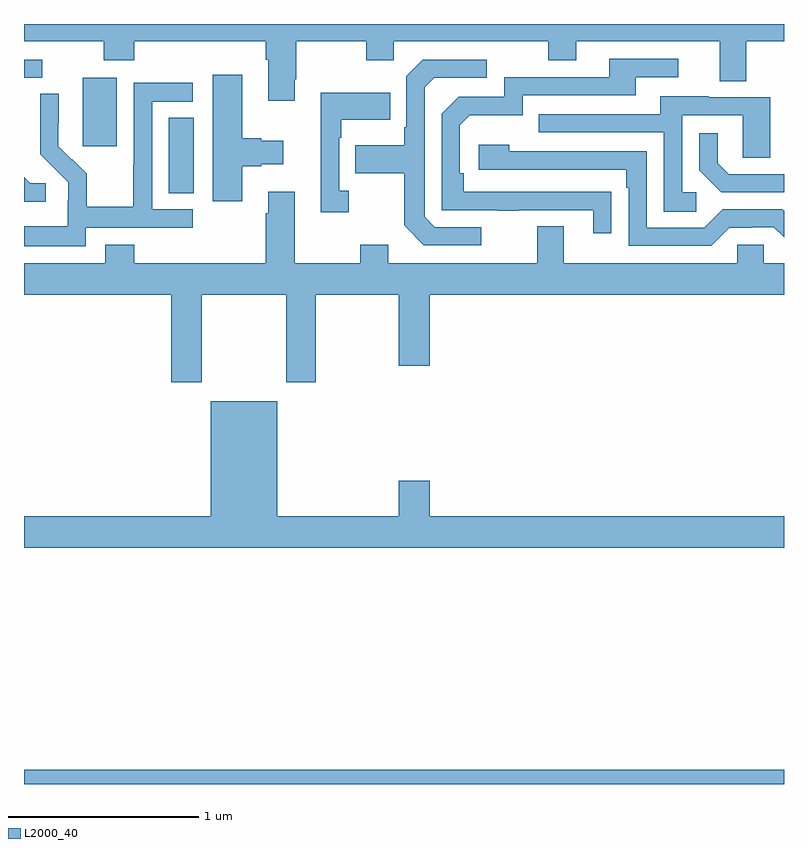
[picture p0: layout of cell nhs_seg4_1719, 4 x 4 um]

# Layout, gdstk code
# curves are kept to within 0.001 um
import gdstk
lib = gdstk.Library(unit=1e-6, precision=1e-09)
def R(c, l, rs):  # rectangles x0, y0, x1, y1
    for r in rs: c.add(gdstk.rectangle(r[:2], r[2:], *l))
def P(c, l, *ps):  # polygons
    for p in ps: c.add(gdstk.Polygon(p, *l))
L2000_40 = (2000, 40)

nhs_seg4_1719 = lib.new_cell('nhs_seg4_1719')
R(nhs_seg4_1719, L2000_40, [(199,804.9,203,804.976), (199.763,808.009,199.894,808.406), (199.31,808.257,199.489,808.618), (199,808.617,199.096,808.713)])
P(nhs_seg4_1719, L2000_40, [(200.425,808.609),(200.433,808.609),(200.433,808.808),(200.8,808.808),(200.8,808.709),(200.946,808.709),(200.946,808.808),(201.76,808.808),(201.76,808.709),(201.907,808.709),(201.907,808.808),(202.661,808.808),(202.661,808.6),(202.801,808.6),(202.801,808.808),(203,808.808),(203,808.9),(199,808.9),(199,808.808),(199.42,808.808),(199.42,808.709),(199.58,808.709),(199.58,808.808),(200.273,808.808),(200.273,808.712),(200.285,808.712),(200.285,808.497),(200.425,808.497)],
  [(202.091,808.016),(201.314,808.017),(201.314,808.114),(201.294,808.114),(201.294,808.368),(201.347,808.421),(201.624,808.421),(201.624,808.524),(202.219,808.524),(202.219,808.62),(202.444,808.62),(202.444,808.716),(202.079,808.716),(202.079,808.62),(201.528,808.62),(201.528,808.518),(201.288,808.518),(201.198,808.428),(201.198,807.921),(201.493,807.921),(201.493,807.916),(201.605,807.916),(201.605,807.921),(201.995,807.921),(201.995,807.798),(202.091,807.798)],
  [(201.406,807.831),(201.162,807.831),(201.108,807.885),(201.108,808.566),(201.159,808.617),(201.436,808.617),(201.436,808.713),(201.099,808.713),(201.012,808.626),(201.012,808.357),(201,808.357),(201,808.261),(200.743,808.261),(200.743,808.114),(201,808.114),(201,807.841),(201.105,807.735),(201.406,807.735)],
  [(200.149,808.151),(200.249,808.151),(200.249,808.163),(200.365,808.163),(200.365,808.285),(200.249,808.285),(200.249,808.298),(200.149,808.298),(200.149,808.633),(199.994,808.633),(199.994,807.966),(200.149,807.966)],
  [(199.326,807.828),(199.888,807.828),(199.888,807.924),(199.674,807.924),(199.674,808.491),(199.888,808.491),(199.888,808.59),(199.578,808.59),(199.578,808.16),(199.576,808.16),(199.576,807.937),(199.331,807.937),(199.331,808.111),(199.254,808.188),(199.251,808.185),(199.181,808.256),(199.182,808.532),(199.086,808.532),(199.086,808.214),(199.232,808.066),(199.232,807.969),(199.23,807.969),(199.23,807.835),(199,807.835),(199,807.731),(199.326,807.731)],
  [(200.71,808.022),(200.658,808.022),(200.658,808.301),(200.671,808.301),(200.671,808.397),(200.927,808.397),(200.927,808.537),(200.561,808.537),(200.561,807.909),(200.71,807.909)],
  [(202.537,808.014),(202.464,808.014),(202.464,808.419),(202.782,808.419),(202.782,808.195),(202.927,808.195),(202.927,808.515),(202.603,808.515),(202.603,808.519),(202.349,808.519),(202.349,808.425),(201.709,808.425),(201.709,808.329),(202.368,808.329),(202.368,807.913),(202.537,807.913)],
  [(203,808.11),(202.708,808.11),(202.651,808.167),(202.651,808.324),(202.554,808.324),(202.554,808.13),(202.67,808.014),(203,808.014)],
  [(202.713,807.828),(202.832,807.828),(202.832,807.831),(202.947,807.831),(203,807.778),(203,807.916),(202.992,807.924),(202.677,807.924),(202.581,807.828),(202.278,807.828),(202.278,808.23),(201.554,808.23),(201.554,808.264),(201.393,808.264),(201.393,808.134),(202.169,808.134),(202.169,808.037),(202.182,808.037),(202.182,807.732),(202.617,807.732)],
  [(199.114,808.062),(199.032,808.062),(199,808.094),(199,807.965),(199.114,807.965)],
  [(202.755,807.738),(202.755,807.64),(201.841,807.64),(201.841,807.835),(201.701,807.835),(201.701,807.64),(200.917,807.64),(200.917,807.739),(200.77,807.739),(200.77,807.64),(200.425,807.64),(200.425,808.018),(200.285,808.018),(200.285,807.905),(200.273,807.905),(200.273,807.64),(199.58,807.64),(199.58,807.739),(199.427,807.739),(199.427,807.64),(199,807.64),(199,807.476),(199.775,807.476),(199.775,807.015),(199.935,807.015),(199.935,807.476),(200.38,807.476),(200.38,807.015),(200.535,807.015),(200.535,807.476),(200.972,807.476),(200.972,807.102),(201.136,807.102),(201.136,807.476),(203,807.476),(203,807.64),(202.893,807.64),(202.893,807.738)],
  [(203,806.308),(201.136,806.308),(201.136,806.497),(200.972,806.497),(200.972,806.308),(200.332,806.308),(200.332,806.914),(199.982,806.914),(199.982,806.308),(199,806.308),(199,806.144),(203,806.144)])

lib.write_gds('nhs_seg4_1719.gds')
